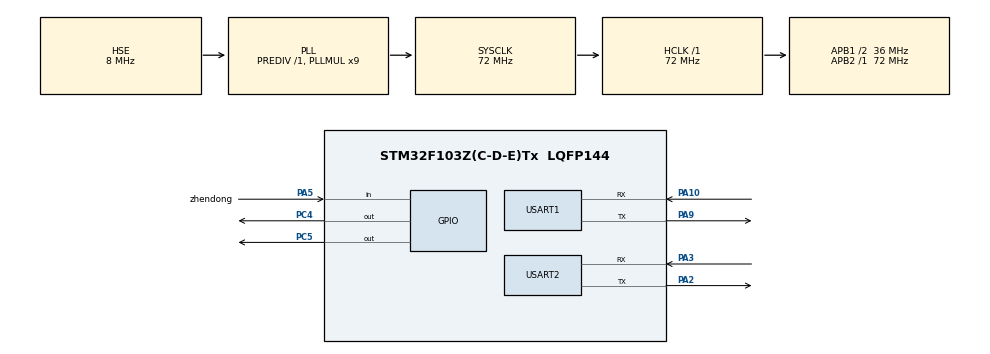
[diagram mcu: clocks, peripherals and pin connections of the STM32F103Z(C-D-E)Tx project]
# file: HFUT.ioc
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Dma.Request0=USART1_RX
Dma.Request1=USART1_TX
Dma.USART1_RX.0.Direction=DMA_PERIPH_TO_MEMORY
Dma.USART1_RX.0.Instance=DMA1_Channel5
Dma.USART1_RX.0.MemDataAlignment=DMA_MDATAALIGN_BYTE
Dma.USART1_RX.0.MemInc=DMA_MINC_ENABLE
Dma.USART1_RX.0.Mode=DMA_NORMAL
Dma.USART1_RX.0.PeriphDataAlignment=DMA_PDATAALIGN_BYTE
Dma.USART1_RX.0.PeriphInc=DMA_PINC_DISABLE
Dma.USART1_RX.0.Priority=DMA_PRIORITY_LOW
Dma.USART1_TX.1.Direction=DMA_MEMORY_TO_PERIPH
Dma.USART1_TX.1.Instance=DMA1_Channel4
Dma.USART1_TX.1.MemDataAlignment=DMA_MDATAALIGN_BYTE
Dma.USART1_TX.1.MemInc=DMA_MINC_ENABLE
Dma.USART1_TX.1.Mode=DMA_NORMAL
Dma.USART1_TX.1.PeriphDataAlignment=DMA_PDATAALIGN_BYTE
Dma.USART1_TX.1.PeriphInc=DMA_PINC_DISABLE
Dma.USART1_TX.1.Priority=DMA_PRIORITY_LOW
Mcu.Family=STM32F1
Mcu.Name=STM32F103Z(C-D-E)Tx
Mcu.Package=LQFP144
NVIC.DMA1_Channel4_IRQn=true\:0\:0\:false\:false\:true\:false\:true
NVIC.DMA1_Channel5_IRQn=true\:0\:0\:false\:false\:true\:false\:true
NVIC.PriorityGroup=NVIC_PRIORITYGROUP_4
NVIC.TIM4_IRQn=true\:0\:0\:false\:false\:true\:true\:true
NVIC.USART1_IRQn=true\:0\:0\:false\:false\:true\:true\:true
OSC_IN.Mode=HSE-External-Oscillator
OSC_IN.Signal=RCC_OSC_IN
OSC_OUT.Mode=HSE-External-Oscillator
OSC_OUT.Signal=RCC_OSC_OUT
PA10.Mode=Asynchronous
PA10.Signal=USART1_RX
PA13.Mode=Serial_Wire
PA13.Signal=SYS_JTMS-SWDIO
PA14.Mode=Serial_Wire
PA14.Signal=SYS_JTCK-SWCLK
PA2.Mode=Asynchronous
PA2.Signal=USART2_TX
PA3.Mode=Asynchronous
PA3.Signal=USART2_RX
PA5.GPIO_Label=zhendong
PA5.Signal=GPIO_Input
PA9.Mode=Asynchronous
PA9.Signal=USART1_TX
PC4.GPIO_ModeDefaultOutputPP=GPIO_MODE_OUTPUT_PP
PC4.GPIO_PuPd=GPIO_NOPULL
PC4.GPIO_Speed=GPIO_SPEED_FREQ_LOW
PC4.PinState=GPIO_PIN_RESET
PC4.Signal=GPIO_Output
PC5.GPIO_ModeDefaultOutputPP=GPIO_MODE_OUTPUT_PP
PC5.GPIO_PuPd=GPIO_NOPULL
PC5.GPIO_Speed=GPIO_SPEED_FREQ_LOW
PC5.PinState=GPIO_PIN_RESET
PC5.Signal=GPIO_Output
ProjectManager.HeapSize=0x200
ProjectManager.StackSize=0x400
ProjectManager.TargetToolchain=STM32CubeIDE
RCC.AHBFreq_Value=72000000
RCC.APB1CLKDivider=RCC_HCLK_DIV2
RCC.APB1Freq_Value=36000000
RCC.APB1TimFreq_Value=72000000
RCC.APB2Freq_Value=72000000
RCC.APB2TimFreq_Value=72000000
RCC.HCLKFreq_Value=72000000
RCC.PLLMUL=RCC_PLL_MUL9
RCC.PLLSourceVirtual=RCC_PLLSOURCE_HSE
RCC.SYSCLKFreq_VALUE=72000000
RCC.SYSCLKSource=RCC_SYSCLKSOURCE_PLLCLK
RCC.USBFreq_Value=72000000
TIM4.Period=9999
TIM4.Prescaler=9999
USART1.VirtualMode=VM_ASYNC
USART2.VirtualMode=VM_ASYNC
VP_TIM4_VS_ClockSourceINT.Mode=Internal
board=custom

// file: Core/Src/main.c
/* USER CODE BEGIN Header */
/**
 ******************************************************************************
 * @file           : main.c
 * @brief          : Main program body
 ******************************************************************************
 * @attention
 *
 * <h2><center>&copy; Copyright (c) 2020 STMicroelectronics.
 * All rights reserved.</center></h2>
 *
 * This software component is licensed by ST under BSD 3-Clause license,
 * the "License"; You may not use this file except in compliance with the
 * License. You may obtain a copy of the License at:
 *                        opensource.org/licenses/BSD-3-Clause
 *
 ******************************************************************************
 */
/* USER CODE END Header */

#include "main.h"
#include "dma.h"
#include "tim.h"
#include "usart.h"
#include "gpio.h"

/* USER CODE BEGIN Includes */
#include "bspled.h"
#include "bspkey.h"
#include "bspds18b20.h"
#include "bsptime.h"
//#include "bspusart.h"
#include "bspoled.h"
#include "codetab.h"
#include "stdio.h"
#include  "bspsr501.h"
#include "bspbeep.h"
#include "bsp_mh_z19b.h"
/* USER CODE END Includes */

/* USER CODE BEGIN PD */
enum STATE
{
	SAFE = 0, RISK, DANGER

};
/* USER CODE END PD */

/* USER CODE BEGIN PM */
//#define LENGTH 100	//接收缓冲区大�???
/* USER CODE END PM */

/* USER CODE BEGIN PV */
//uint8_t RxBuffer[LENGTH];	//接收缓冲�???
//uint8_t RecCount = 0;	//接收数据个数
//uint8_t RxFlag = 0;	//接收完成标志�???0表示接收未完成，1表示接收完成
//DMA_HandleTypeDef hdma_usart1_rx;
//DMA_HandleTypeDef hdma_usart1_tx;
uint8_t isStart = 0;
float temperature = 0;
uint8_t dis_buf[1024] =
{ 0 };
uint8_t flag = 0;
uint8_t state = SAFE;
uint16_t co2 = 0;

/* USER CODE END PV */

void SystemClock_Config(void);

int main(void)
{

  /* MCU Configuration--------------------------------------------------------*/

  /* Reset of all peripherals, Initializes the Flash interface and the Systick. */
  HAL_Init();

  /* USER CODE BEGIN Init */
	BSP_SR501_EXTI_Config();

  /* USER CODE END Init */

  /* Configure the system clock */
  SystemClock_Config();

  /* Initialize all configured peripherals */
  MX_GPIO_Init();
  MX_DMA_Init();
  MX_TIM4_Init();
  MX_USART1_UART_Init();
  MX_USART2_UART_Init();
  /* USER CODE BEGIN 2 */
	//清楚定时器初始化过程中的更新中断标志
	__HAL_TIM_CLEAR_IT(&htim4, TIM_IT_UPDATE);
	//使能定时�???4更新中断并启动定时器
	HAL_TIM_Base_Start_IT(&htim4);

  /* USER CODE END 2 */

  /* Infinite loop */
  /* USER CODE BEGIN WHILE */
	while (1)
	{
	    if (isStart == 0)
		{

		continue;
		}
		else if (isStart == 1)
		{
			BSP_KEY_Config();
			BSP_LED_Config();
			BSP_OLED_Config();
			BSP_DS18B20_Config();
			BSP_BEEP_Config();
			BSP_LED_Off(LED0);
			BSP_LED_Off(LED1);
			BSP_LED_Off(LED2);
			BSP_OLED_CLS();
		}
		else
		{
//			temperature = BSP_DS18B20_GetTemp();
		    //			sprintf((char*) dis_buf, "Temp:%0.3fC", temperature);
//			BSP_OLED_Big_Str(0, 0, dis_buf);
    /* USER CODE END WHILE */

    /* USER CODE BEGIN 3 */
//			switch (state)
//			{
//			case SAFE:
//				BSP_LED_On(LED0);
//				BSP_LED_Off(LED1);
//				BSP_LED_Off(LED2);
//				BSP_BEEP_StopRing();
//				break;
//			case RISK:
//				BSP_LED_On(LED1);
//				BSP_LED_Off(LED0);
//				BSP_LED_Off(LED2);
//				BSP_BEEP_StopRing();
//				break;
//			case DANGER:
//				BSP_LED_On(LED2);
//				BSP_LED_Off(LED0);
//				BSP_LED_Off(LED1);
//				BSP_BEEP_StartRing();
//				break;
//			}

			BSP_CO2_Tx(&co2);
		sprintf((char*) dis_buf, "%u", co2);
		BSP_OLED_Big_Str(0, 0, dis_buf);

	}

}
  /* USER CODE END 3 */
}

void SystemClock_Config(void)
{
  RCC_OscInitTypeDef RCC_OscInitStruct = {0};
  RCC_ClkInitTypeDef RCC_ClkInitStruct = {0};

  /** Initializes the CPU, AHB and APB busses clocks
  */
  RCC_OscInitStruct.OscillatorType = RCC_OSCILLATORTYPE_HSE;
  RCC_OscInitStruct.HSEState = RCC_HSE_ON;
  RCC_OscInitStruct.HSEPredivValue = RCC_HSE_PREDIV_DIV1;
  RCC_OscInitStruct.HSIState = RCC_HSI_ON;
  RCC_OscInitStruct.PLL.PLLState = RCC_PLL_ON;
  RCC_OscInitStruct.PLL.PLLSource = RCC_PLLSOURCE_HSE;
  RCC_OscInitStruct.PLL.PLLMUL = RCC_PLL_MUL9;
  if (HAL_RCC_OscConfig(&RCC_OscInitStruct) != HAL_OK)
  {
    Error_Handler();
  }
  /** Initializes the CPU, AHB and APB busses clocks
  */
  RCC_ClkInitStruct.ClockType = RCC_CLOCKTYPE_HCLK|RCC_CLOCKTYPE_SYSCLK
                              |RCC_CLOCKTYPE_PCLK1|RCC_CLOCKTYPE_PCLK2;
  RCC_ClkInitStruct.SYSCLKSource = RCC_SYSCLKSOURCE_PLLCLK;
  RCC_ClkInitStruct.AHBCLKDivider = RCC_SYSCLK_DIV1;
  RCC_ClkInitStruct.APB1CLKDivider = RCC_HCLK_DIV2;
  RCC_ClkInitStruct.APB2CLKDivider = RCC_HCLK_DIV1;

  if (HAL_RCC_ClockConfig(&RCC_ClkInitStruct, FLASH_LATENCY_2) != HAL_OK)
  {
    Error_Handler();
  }
}

/* USER CODE BEGIN 4 */
void HAL_TIM_PeriodElapsedCallback(TIM_HandleTypeDef *htim)
{
if (htim->Instance == TIM4)
{
	if (temperature < 29.0f)
	{
		state = SAFE;
	}
	else if (temperature < 32.0f)
	{
		state = RISK;
	}
	else
	{
		state = DANGER;
	}
}
}

void HAL_GPIO_EXTI_Callback(uint16_t GPIO_Pin)
{
isStart++;
}

//void HAL_UART_RxCpltCallback(UART_HandleTypeDef *huart)
//{
//	if (huart->Instance == huart1.Instance)
//	{
//		HAL_UART_Receive_DMA(&huart1, (uint8_t*) RxBuffer, RecCount);
//	}
//}
//
//void HAL_UART_IdleCpltCallback(UART_HandleTypeDef *huart)
//{
//	RxFlag = 1;
//}
/* USER CODE END 4 */

void Error_Handler(void)
{
}

/************************ (C) COPYRIGHT STMicroelectronics *****END OF FILE****/
